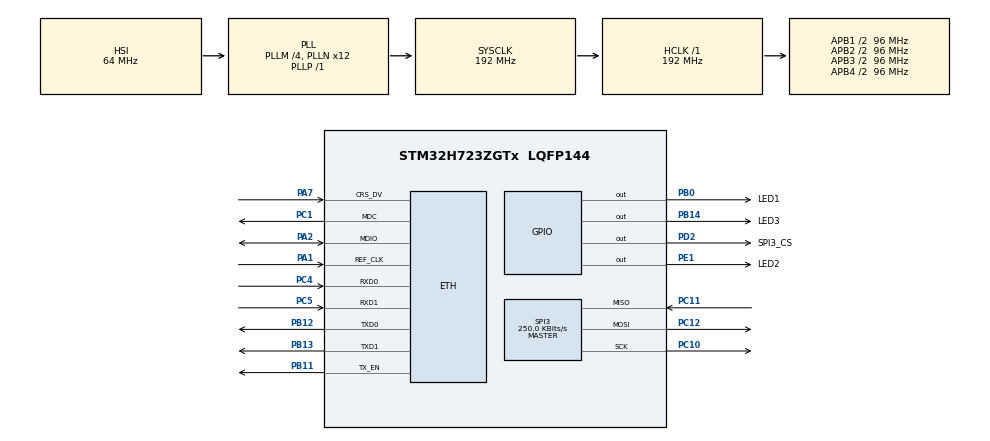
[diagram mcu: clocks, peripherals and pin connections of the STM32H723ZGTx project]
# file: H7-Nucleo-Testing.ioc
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CORTEX_M7.AccessPermission_S-Cortex_Memory_Protection_Unit_Region1_Settings_S=MPU_REGION_FULL_ACCESS
CORTEX_M7.AccessPermission_S-Cortex_Memory_Protection_Unit_Region2_Settings_S=MPU_REGION_FULL_ACCESS
CORTEX_M7.BaseAddress_S-Cortex_Memory_Protection_Unit_Region1_Settings_S=0x30000000
CORTEX_M7.BaseAddress_S-Cortex_Memory_Protection_Unit_Region2_Settings_S=0x30000000
CORTEX_M7.BaseAddress_Spec=0x0
CORTEX_M7.CPU_DCache=Enabled
CORTEX_M7.CPU_ICache=Enabled
CORTEX_M7.DisableExec_S-Cortex_Memory_Protection_Unit_Region1_Settings_S=MPU_INSTRUCTION_ACCESS_DISABLE
CORTEX_M7.DisableExec_S-Cortex_Memory_Protection_Unit_Region2_Settings_S=MPU_INSTRUCTION_ACCESS_DISABLE
CORTEX_M7.Enable_S-Cortex_Memory_Protection_Unit_Region1_Settings_S=MPU_REGION_ENABLE
CORTEX_M7.Enable_S-Cortex_Memory_Protection_Unit_Region2_Settings_S=MPU_REGION_ENABLE
CORTEX_M7.IsBufferable_S-Cortex_Memory_Protection_Unit_Region2_Settings_S=MPU_ACCESS_BUFFERABLE
CORTEX_M7.IsShareable_S-Cortex_Memory_Protection_Unit_Region2_Settings_S=MPU_ACCESS_SHAREABLE
CORTEX_M7.Size_S-Cortex_Memory_Protection_Unit_Region1_Settings_S=MPU_REGION_SIZE_32KB
CORTEX_M7.Size_S-Cortex_Memory_Protection_Unit_Region2_Settings_S=MPU_REGION_SIZE_512B
CORTEX_M7.TypeExtField_S-Cortex_Memory_Protection_Unit_Region1_Settings_S=MPU_TEX_LEVEL1
CORTEX_M7.default_mode_Activation=1
ETH.MediaInterface=HAL_ETH_RMII_MODE
ETH.RxBuffLen=1536
ETH.RxBufferAddress=0x30000200
ETH.TxDescAddress=0x30000100
FREERTOS.Tasks01=defaultTask,24,512,StartDefaultTask,Default,NULL,Dynamic,NULL,NULL
FREERTOS.configMINIMAL_STACK_SIZE=512
FREERTOS.configUSE_NEWLIB_REENTRANT=1
LWIP.BSP.number=1
LWIP.IP_ADDRESS=192.168.050.010
LWIP.LWIP_DHCP=0
LWIP.LWIP_RAM_HEAP_POINTER=0x30000200
LWIP.MEM_SIZE=32232
LWIP.NETMASK_ADDRESS=255.255.255.000
LWIP.TCP_MSS=1460
LWIP.TCP_SND_BUF=5840
LWIP.TCP_SND_QUEUELEN=16
LWIP.Version=v2.1.2_Cube
LWIP0.BSP.STBoard=false
LWIP0.BSP.api=BSP_COMPONENT_DRIVER
LWIP0.BSP.component=LAN8742
LWIP0.BSP.instance=LAN8742
LWIP0.BSP.name=Driver_PHY
LWIP0.BSP.semaphore=S_LAN8742
LWIP0.BSP.solution=LAN8742
Mcu.Family=STM32H7
Mcu.Name=STM32H723ZGTx
Mcu.Package=LQFP144
NVIC.ETH_IRQn=true\:5\:0\:false\:false\:true\:true\:true\:true\:true
NVIC.PriorityGroup=NVIC_PRIORITYGROUP_4
NVIC.TIM6_DAC_IRQn=true\:15\:0\:false\:false\:true\:false\:false\:true\:true
NVIC.TimeBase=TIM6_DAC_IRQn
NVIC.TimeBaseIP=TIM6
PA1.GPIO_Speed=GPIO_SPEED_FREQ_VERY_HIGH
PA1.Mode=RMII
PA1.Signal=ETH_REF_CLK
PA2.GPIO_Speed=GPIO_SPEED_FREQ_VERY_HIGH
PA2.Mode=RMII
PA2.Signal=ETH_MDIO
PA7.GPIO_Speed=GPIO_SPEED_FREQ_VERY_HIGH
PA7.Mode=RMII
PA7.Signal=ETH_CRS_DV
PB0.GPIO_Label=LED1
PB0.Signal=GPIO_Output
PB11.GPIO_Speed=GPIO_SPEED_FREQ_VERY_HIGH
PB11.Mode=RMII
PB11.Signal=ETH_TX_EN
PB12.GPIO_Speed=GPIO_SPEED_FREQ_VERY_HIGH
PB12.Mode=RMII
PB12.Signal=ETH_TXD0
PB13.GPIO_Speed=GPIO_SPEED_FREQ_VERY_HIGH
PB13.Mode=RMII
PB13.Signal=ETH_TXD1
PB14.GPIO_Label=LED3
PB14.Signal=GPIO_Output
PC1.GPIO_Speed=GPIO_SPEED_FREQ_VERY_HIGH
PC1.Mode=RMII
PC1.Signal=ETH_MDC
PC10.Mode=Full_Duplex_Master
PC10.Signal=SPI3_SCK
PC11.Mode=Full_Duplex_Master
PC11.Signal=SPI3_MISO
PC12.Mode=Full_Duplex_Master
PC12.Signal=SPI3_MOSI
PC4.GPIO_Speed=GPIO_SPEED_FREQ_VERY_HIGH
PC4.Mode=RMII
PC4.Signal=ETH_RXD0
PC5.GPIO_Speed=GPIO_SPEED_FREQ_VERY_HIGH
PC5.Mode=RMII
PC5.Signal=ETH_RXD1
PD2.GPIO_Label=SPI3_CS
PD2.Signal=GPIO_Output
PE1.GPIO_Label=LED2
PE1.Signal=GPIO_Output
ProjectManager.HeapSize=0x200
ProjectManager.StackSize=0x400
ProjectManager.TargetToolchain=STM32CubeIDE
RCC.ADCFreq_Value=129000000
RCC.APB1Freq_Value=96000000
RCC.APB2Freq_Value=96000000
RCC.APB3Freq_Value=96000000
RCC.APB4Freq_Value=96000000
RCC.CortexFreq_Value=192000000
RCC.D1PPRE=RCC_APB3_DIV2
RCC.D2PPRE1=RCC_APB1_DIV2
RCC.D2PPRE2=RCC_APB2_DIV2
RCC.D3PPRE=RCC_APB4_DIV2
RCC.DIVM1=4
RCC.DIVN1=12
RCC.DIVP1=1
RCC.DIVQ1=3
RCC.HCLKFreq_Value=192000000
RCC.PLL2FRACN=0
RCC.PLL3FRACN=0
RCC.PLLFRACN=0
RCC.PWR_Regulator_Voltage_Scale=PWR_REGULATOR_VOLTAGE_SCALE0
RCC.SYSCLKFreq_VALUE=192000000
RCC.SYSCLKSource=RCC_SYSCLKSOURCE_PLLCLK
RCC.USBFreq_Value=64000000
SPI3.BaudRatePrescaler=SPI_BAUDRATEPRESCALER_256
SPI3.CalculateBaudRate=250.0 KBits/s
SPI3.DataSize=SPI_DATASIZE_8BIT
SPI3.Direction=SPI_DIRECTION_2LINES
SPI3.Mode=SPI_MODE_MASTER
SPI3.VirtualType=VM_MASTER
VP_FREERTOS_VS_CMSIS_V2.Mode=CMSIS_V2
VP_LWIP_VS_Enabled.Mode=Enabled
VP_MEMORYMAP_VS_MEMORYMAP.Mode=CurAppReg
VP_SYS_VS_tim6.Mode=TIM6
board=custom

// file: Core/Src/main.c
/* USER CODE BEGIN Header */
/**
  ******************************************************************************
  * @file           : main.c
  * @brief          : Main program body
  ******************************************************************************
  * @attention
  *
  * Copyright (c) 2025 STMicroelectronics.
  * All rights reserved.
  *
  * This software is licensed under terms that can be found in the LICENSE file
  * in the root directory of this software component.
  * If no LICENSE file comes with this software, it is provided AS-IS.
  *
  ******************************************************************************
  */
/* USER CODE END Header */
#include "main.h"
#include "cmsis_os.h"
#include "lwip.h"

/* USER CODE BEGIN Includes */
#include "MS5611.h"
/* USER CODE END Includes */

SPI_HandleTypeDef hspi3;

/* Definitions for defaultTask */
osThreadId_t defaultTaskHandle;
const osThreadAttr_t defaultTask_attributes = {
  .name = "defaultTask",
  .stack_size = 512 * 4,
  .priority = (osPriority_t) osPriorityNormal,
};

void SystemClock_Config(void);
static void MPU_Config(void);
static void MX_GPIO_Init(void);
static void MX_SPI3_Init(void);
void StartDefaultTask(void *argument);

int main(void)
{

  /* MPU Configuration--------------------------------------------------------*/
  MPU_Config();

  /* Enable the CPU Cache */

  /* Enable I-Cache---------------------------------------------------------*/
  SCB_EnableICache();

  /* Enable D-Cache---------------------------------------------------------*/
  SCB_EnableDCache();

  /* MCU Configuration--------------------------------------------------------*/

  /* Reset of all peripherals, Initializes the Flash interface and the Systick. */
  HAL_Init();

  /* Configure the system clock */
  SystemClock_Config();

  /* Initialize all configured peripherals */
  MX_GPIO_Init();
  MX_SPI3_Init();

  /* Init scheduler */
  osKernelInitialize();

  /* Create the thread(s) */
  /* creation of defaultTask */
  defaultTaskHandle = osThreadNew(StartDefaultTask, NULL, &defaultTask_attributes);

  /* Start scheduler */
  osKernelStart();

  /* We should never get here as control is now taken by the scheduler */

  /* Infinite loop */
  while (1)
  {

  }
}

void SystemClock_Config(void)
{
  RCC_OscInitTypeDef RCC_OscInitStruct = {0};
  RCC_ClkInitTypeDef RCC_ClkInitStruct = {0};

  /** Supply configuration update enable
  */
  HAL_PWREx_ConfigSupply(PWR_LDO_SUPPLY);

  /** Configure the main internal regulator output voltage
  */
  __HAL_PWR_VOLTAGESCALING_CONFIG(PWR_REGULATOR_VOLTAGE_SCALE0);

  while(!__HAL_PWR_GET_FLAG(PWR_FLAG_VOSRDY)) {}

  /** Initializes the RCC Oscillators according to the specified parameters
  * in the RCC_OscInitTypeDef structure.
  */
  RCC_OscInitStruct.OscillatorType = RCC_OSCILLATORTYPE_HSI;
  RCC_OscInitStruct.HSIState = RCC_HSI_DIV1;
  RCC_OscInitStruct.HSICalibrationValue = 64;
  RCC_OscInitStruct.PLL.PLLState = RCC_PLL_ON;
  RCC_OscInitStruct.PLL.PLLSource = RCC_PLLSOURCE_HSI;
  RCC_OscInitStruct.PLL.PLLM = 4;
  RCC_OscInitStruct.PLL.PLLN = 12;
  RCC_OscInitStruct.PLL.PLLP = 1;
  RCC_OscInitStruct.PLL.PLLQ = 3;
  RCC_OscInitStruct.PLL.PLLR = 2;
  RCC_OscInitStruct.PLL.PLLRGE = RCC_PLL1VCIRANGE_3;
  RCC_OscInitStruct.PLL.PLLVCOSEL = RCC_PLL1VCOWIDE;
  RCC_OscInitStruct.PLL.PLLFRACN = 0;
  if (HAL_RCC_OscConfig(&RCC_OscInitStruct) != HAL_OK)
  {
    Error_Handler();
  }

  /** Initializes the CPU, AHB and APB buses clocks
  */
  RCC_ClkInitStruct.ClockType = RCC_CLOCKTYPE_HCLK|RCC_CLOCKTYPE_SYSCLK
                              |RCC_CLOCKTYPE_PCLK1|RCC_CLOCKTYPE_PCLK2
                              |RCC_CLOCKTYPE_D3PCLK1|RCC_CLOCKTYPE_D1PCLK1;
  RCC_ClkInitStruct.SYSCLKSource = RCC_SYSCLKSOURCE_PLLCLK;
  RCC_ClkInitStruct.SYSCLKDivider = RCC_SYSCLK_DIV1;
  RCC_ClkInitStruct.AHBCLKDivider = RCC_HCLK_DIV1;
  RCC_ClkInitStruct.APB3CLKDivider = RCC_APB3_DIV2;
  RCC_ClkInitStruct.APB1CLKDivider = RCC_APB1_DIV2;
  RCC_ClkInitStruct.APB2CLKDivider = RCC_APB2_DIV2;
  RCC_ClkInitStruct.APB4CLKDivider = RCC_APB4_DIV2;

  if (HAL_RCC_ClockConfig(&RCC_ClkInitStruct, FLASH_LATENCY_2) != HAL_OK)
  {
    Error_Handler();
  }
}

static void MX_SPI3_Init(void)
{

  /* SPI3 parameter configuration*/
  hspi3.Instance = SPI3;
  hspi3.Init.Mode = SPI_MODE_MASTER;
  hspi3.Init.Direction = SPI_DIRECTION_2LINES;
  hspi3.Init.DataSize = SPI_DATASIZE_8BIT;
  hspi3.Init.CLKPolarity = SPI_POLARITY_LOW;
  hspi3.Init.CLKPhase = SPI_PHASE_1EDGE;
  hspi3.Init.NSS = SPI_NSS_SOFT;
  hspi3.Init.BaudRatePrescaler = SPI_BAUDRATEPRESCALER_256;
  hspi3.Init.FirstBit = SPI_FIRSTBIT_MSB;
  hspi3.Init.TIMode = SPI_TIMODE_DISABLE;
  hspi3.Init.CRCCalculation = SPI_CRCCALCULATION_DISABLE;
  hspi3.Init.CRCPolynomial = 0x0;
  hspi3.Init.NSSPMode = SPI_NSS_PULSE_ENABLE;
  hspi3.Init.NSSPolarity = SPI_NSS_POLARITY_LOW;
  hspi3.Init.FifoThreshold = SPI_FIFO_THRESHOLD_01DATA;
  hspi3.Init.TxCRCInitializationPattern = SPI_CRC_INITIALIZATION_ALL_ZERO_PATTERN;
  hspi3.Init.RxCRCInitializationPattern = SPI_CRC_INITIALIZATION_ALL_ZERO_PATTERN;
  hspi3.Init.MasterSSIdleness = SPI_MASTER_SS_IDLENESS_00CYCLE;
  hspi3.Init.MasterInterDataIdleness = SPI_MASTER_INTERDATA_IDLENESS_00CYCLE;
  hspi3.Init.MasterReceiverAutoSusp = SPI_MASTER_RX_AUTOSUSP_DISABLE;
  hspi3.Init.MasterKeepIOState = SPI_MASTER_KEEP_IO_STATE_DISABLE;
  hspi3.Init.IOSwap = SPI_IO_SWAP_DISABLE;
  if (HAL_SPI_Init(&hspi3) != HAL_OK)
  {
    Error_Handler();
  }

}

static void MX_GPIO_Init(void)
{
  GPIO_InitTypeDef GPIO_InitStruct = {0};

  /* GPIO Ports Clock Enable */
  __HAL_RCC_GPIOC_CLK_ENABLE();
  __HAL_RCC_GPIOA_CLK_ENABLE();
  __HAL_RCC_GPIOB_CLK_ENABLE();
  __HAL_RCC_GPIOD_CLK_ENABLE();
  __HAL_RCC_GPIOE_CLK_ENABLE();

  /*Configure GPIO pin Output Level */
  HAL_GPIO_WritePin(GPIOB, LED1_Pin|LED3_Pin, GPIO_PIN_RESET);

  /*Configure GPIO pin Output Level */
  HAL_GPIO_WritePin(SPI3_CS_GPIO_Port, SPI3_CS_Pin, GPIO_PIN_RESET);

  /*Configure GPIO pin Output Level */
  HAL_GPIO_WritePin(LED2_GPIO_Port, LED2_Pin, GPIO_PIN_RESET);

  /*Configure GPIO pins : LED1_Pin LED3_Pin */
  GPIO_InitStruct.Pin = LED1_Pin|LED3_Pin;
  GPIO_InitStruct.Mode = GPIO_MODE_OUTPUT_PP;
  GPIO_InitStruct.Pull = GPIO_NOPULL;
  GPIO_InitStruct.Speed = GPIO_SPEED_FREQ_LOW;
  HAL_GPIO_Init(GPIOB, &GPIO_InitStruct);

  /*Configure GPIO pin : SPI3_CS_Pin */
  GPIO_InitStruct.Pin = SPI3_CS_Pin;
  GPIO_InitStruct.Mode = GPIO_MODE_OUTPUT_PP;
  GPIO_InitStruct.Pull = GPIO_NOPULL;
  GPIO_InitStruct.Speed = GPIO_SPEED_FREQ_LOW;
  HAL_GPIO_Init(SPI3_CS_GPIO_Port, &GPIO_InitStruct);

  /*Configure GPIO pin : LED2_Pin */
  GPIO_InitStruct.Pin = LED2_Pin;
  GPIO_InitStruct.Mode = GPIO_MODE_OUTPUT_PP;
  GPIO_InitStruct.Pull = GPIO_NOPULL;
  GPIO_InitStruct.Speed = GPIO_SPEED_FREQ_LOW;
  HAL_GPIO_Init(LED2_GPIO_Port, &GPIO_InitStruct);

}

void StartDefaultTask(void *argument)
{
  /* init code for LWIP */
  MX_LWIP_Init();
  /* USER CODE BEGIN 5 */
  MS5611 bar;
    bar.hspi = &hspi3;
    bar.SPI_TIMEOUT = 100;
    bar.CS_GPIO_Port = GPIOD; // PD2
    bar.CS_GPIO_Pin = GPIO_PIN_2;
    bar.pres_offset = 0;
    bar.alt_offset = 0;

    MS5611_PROM_t prom;
    prom.constants.C1 = 0;
    prom.constants.C2 = 0;
    prom.constants.C3 = 0;
    prom.constants.C4 = 0;
    prom.constants.C5 = 0;
    prom.constants.C6 = 0;

    MS5611_Reset(&bar);
    MS5611_readPROM(&bar, &prom);

    float pres = 0.0;
    float alt = 0.0;

    /* Infinite loop */
    for(;;) {
      MS5611_getPres(&bar, &pres, &prom, OSR_256);
      MS5611_getAlt(&bar, &alt, &prom, OSR_256); // Altitude from sea-level in feet
      HAL_GPIO_TogglePin(LED1_GPIO_Port, LED1_Pin);
      osDelay(2000);
    }
  /* USER CODE END 5 */
}

 /* MPU Configuration */

void MPU_Config(void)
{
  MPU_Region_InitTypeDef MPU_InitStruct = {0};

  /* Disables the MPU */
  HAL_MPU_Disable();

  /** Initializes and configures the Region and the memory to be protected
  */
  MPU_InitStruct.Enable = MPU_REGION_ENABLE;
  MPU_InitStruct.Number = MPU_REGION_NUMBER0;
  MPU_InitStruct.BaseAddress = 0x0;
  MPU_InitStruct.Size = MPU_REGION_SIZE_4GB;
  MPU_InitStruct.SubRegionDisable = 0x87;
  MPU_InitStruct.TypeExtField = MPU_TEX_LEVEL0;
  MPU_InitStruct.AccessPermission = MPU_REGION_NO_ACCESS;
  MPU_InitStruct.DisableExec = MPU_INSTRUCTION_ACCESS_DISABLE;
  MPU_InitStruct.IsShareable = MPU_ACCESS_SHAREABLE;
  MPU_InitStruct.IsCacheable = MPU_ACCESS_NOT_CACHEABLE;
  MPU_InitStruct.IsBufferable = MPU_ACCESS_NOT_BUFFERABLE;

  HAL_MPU_ConfigRegion(&MPU_InitStruct);

  /** Initializes and configures the Region and the memory to be protected
  */
  MPU_InitStruct.Number = MPU_REGION_NUMBER1;
  MPU_InitStruct.BaseAddress = 0x30000000;
  MPU_InitStruct.Size = MPU_REGION_SIZE_32KB;
  MPU_InitStruct.SubRegionDisable = 0x0;
  MPU_InitStruct.TypeExtField = MPU_TEX_LEVEL1;
  MPU_InitStruct.AccessPermission = MPU_REGION_FULL_ACCESS;
  MPU_InitStruct.IsShareable = MPU_ACCESS_NOT_SHAREABLE;

  HAL_MPU_ConfigRegion(&MPU_InitStruct);

  /** Initializes and configures the Region and the memory to be protected
  */
  MPU_InitStruct.Number = MPU_REGION_NUMBER2;
  MPU_InitStruct.Size = MPU_REGION_SIZE_512B;
  MPU_InitStruct.TypeExtField = MPU_TEX_LEVEL0;
  MPU_InitStruct.IsShareable = MPU_ACCESS_SHAREABLE;
  MPU_InitStruct.IsBufferable = MPU_ACCESS_BUFFERABLE;

  HAL_MPU_ConfigRegion(&MPU_InitStruct);
  /* Enables the MPU */
  HAL_MPU_Enable(MPU_PRIVILEGED_DEFAULT);

}

void HAL_TIM_PeriodElapsedCallback(TIM_HandleTypeDef *htim)
{
  if (htim->Instance == TIM6)
  {
    HAL_IncTick();
  }
}

void Error_Handler(void)
{
  __disable_irq();
  while (1)
  {
  }
}
